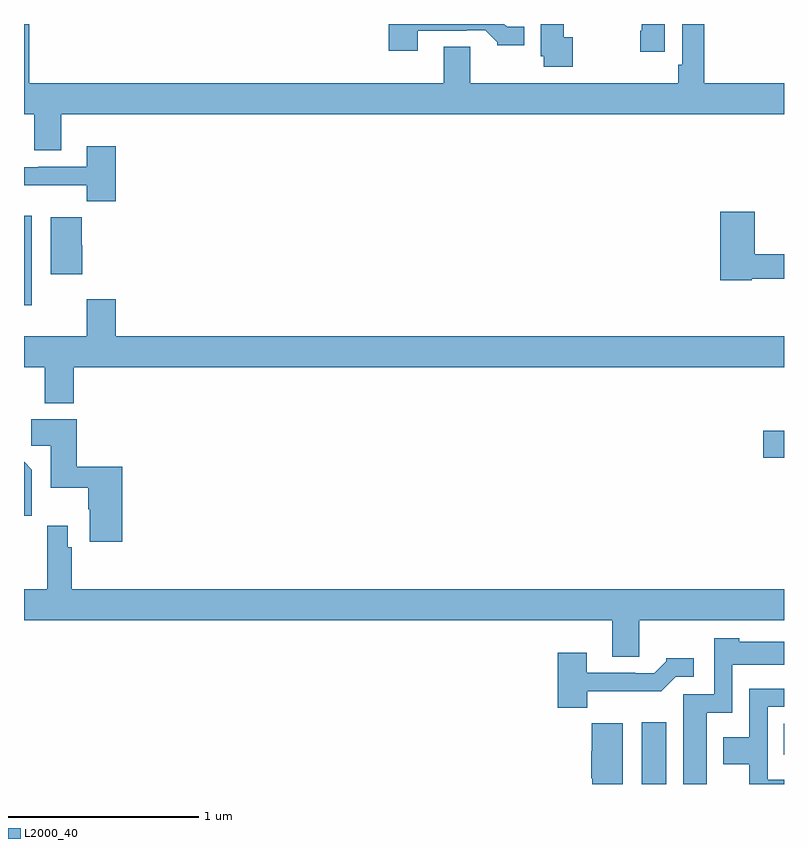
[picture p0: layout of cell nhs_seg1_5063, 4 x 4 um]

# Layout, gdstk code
import gdstk
lib = gdstk.Library(unit=1e-6, precision=1e-09)
def R(c, l, rs):  # rectangles x0, y0, x1, y1
    for r in rs: c.add(gdstk.rectangle(r[:2], r[2:], *l))
def P(c, l, *ps):  # polygons
    for p in ps: c.add(gdstk.Polygon(p, *l))
L2000_40 = (2000, 40)

nhs_seg1_5063 = lib.new_cell('nhs_seg1_5063')
R(nhs_seg1_5063, L2000_40, [(388.25,556.199,388.381,556.525), (388.999,556.352,389,556.516), (388.89,557.915,389,558.057), (385,558.72,385.042,559.189)])
P(nhs_seg1_5063, L2000_40, [(385.195,559.724),(389,559.724),(389,559.888),(388.58,559.888),(388.58,560.199),(388.464,560.199),(388.464,559.984),(388.444,559.984),(388.444,559.888),(387.349,559.888),(387.349,560.078),(387.209,560.078),(387.209,559.888),(385.028,559.888),(385.028,560.199),(385,560.199),(385,559.724),(385.055,559.724),(385.055,559.534),(385.195,559.534)],
  [(387.888,560.13),(387.841,560.13),(387.841,560.199),(387.719,560.199),(387.719,560.028),(387.736,560.028),(387.736,559.974),(387.888,559.974)],
  [(387.073,560.163),(387.329,560.163),(387.329,560.166),(387.428,560.166),(387.492,560.102),(387.492,560.087),(387.634,560.087),(387.634,560.184),(387.543,560.184),(387.528,560.199),(386.921,560.199),(386.921,560.058),(387.073,560.058)],
  [(388.372,560.199),(388.25,560.199),(388.25,560.164),(388.243,560.164),(388.243,560.052),(388.372,560.052)],
  [(385.484,559.555),(385.331,559.555),(385.331,559.449),(385.075,559.449),(385.075,559.446),(385,559.446),(385,559.35),(385.329,559.35),(385.329,559.265),(385.484,559.265)],
  [(388.83,558.858),(389,558.858),(389,558.986),(388.847,558.986),(388.847,559.21),(388.664,559.21),(388.664,558.85),(388.83,558.85)],
  [(385.306,559.035),(385.304,559.035),(385.304,559.183),(385.142,559.183),(385.142,558.882),(385.306,558.882)],
  [(385.262,558.392),(389,558.392),(389,558.556),(385.484,558.556),(385.484,558.751),(385.331,558.751),(385.331,558.556),(385,558.556),(385,558.392),(385.109,558.392),(385.109,558.203),(385.262,558.203)],
  [(385.517,557.869),(385.277,557.869),(385.277,558.118),(385.037,558.118),(385.037,557.98),(385.142,557.98),(385.142,557.759),(385.339,557.759),(385.339,557.644),(385.346,557.644),(385.346,557.475),(385.517,557.475)],
  [(385.042,557.854),(385,557.896),(385,557.61),(385.042,557.61)],
  [(388.237,557.06),(389,557.06),(389,557.224),(385.25,557.224),(385.25,557.444),(385.23,557.444),(385.23,557.557),(385.122,557.557),(385.122,557.224),(385,557.224),(385,557.06),(388.097,557.06),(388.097,556.87),(388.237,556.87)],
  [(388.594,556.574),(388.728,556.574),(388.728,556.826),(389,556.826),(389,556.948),(388.764,556.948),(388.764,556.966),(388.632,556.966),(388.632,556.671),(388.469,556.671),(388.469,556.199),(388.594,556.199)],
  [(387.964,556.686),(388.353,556.686),(388.431,556.764),(388.525,556.764),(388.525,556.861),(388.38,556.861),(388.38,556.846),(388.316,556.782),(388.217,556.782),(388.217,556.785),(387.961,556.785),(387.961,556.891),(387.809,556.891),(387.809,556.601),(387.964,556.601)],
  [(389,556.222),(388.914,556.222),(388.914,556.605),(389,556.605),(389,556.701),(388.818,556.701),(388.818,556.444),(388.679,556.444),(388.679,556.304),(388.816,556.304),(388.816,556.199),(389,556.199)],
  [(388.15,556.519),(387.988,556.519),(387.988,556.371),(387.986,556.371),(387.986,556.23),(387.99,556.23),(387.99,556.199),(388.15,556.199)])

lib.write_gds('nhs_seg1_5063.gds')
